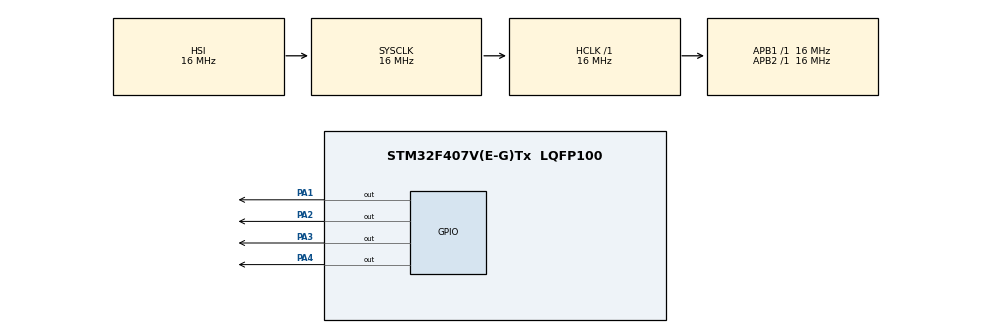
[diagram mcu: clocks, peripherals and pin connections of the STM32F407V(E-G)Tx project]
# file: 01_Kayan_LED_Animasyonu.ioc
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Mcu.Family=STM32F4
Mcu.Name=STM32F407V(E-G)Tx
Mcu.Package=LQFP100
NVIC.PriorityGroup=NVIC_PRIORITYGROUP_4
PA1.Signal=GPIO_Output
PA2.Signal=GPIO_Output
PA3.Signal=GPIO_Output
PA4.Signal=GPIO_Output
ProjectManager.HeapSize=0x200
ProjectManager.StackSize=0x400
ProjectManager.TargetToolchain=STM32CubeIDE
RCC.AHBFreq_Value=16000000
RCC.APB1Freq_Value=16000000
RCC.APB2Freq_Value=16000000
RCC.CortexFreq_Value=16000000
RCC.HSE_VALUE=25000000
RCC.HSI_VALUE=16000000
RCC.LSE_VALUE=32768
RCC.SYSCLKFreq_VALUE=16000000
RCC.VCOOutputFreq_Value=192000000
board=custom

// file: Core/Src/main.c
/* USER CODE BEGIN Header */
/**
  ******************************************************************************
  * @file           : main.c
  * @brief          : Main program body
  ******************************************************************************
  * @attention
  *
  * Copyright (c) 2025 STMicroelectronics.
  * All rights reserved.
  *
  * This software is licensed under terms that can be found in the LICENSE file
  * in the root directory of this software component.
  * If no LICENSE file comes with this software, it is provided AS-IS.
  *
  ******************************************************************************
  */
/* USER CODE END Header */
#include "main.h"

void SystemClock_Config(void);
static void MX_GPIO_Init(void);

int main(void)
{

  /* MCU Configuration--------------------------------------------------------*/

  /* Reset of all peripherals, Initializes the Flash interface and the Systick. */
  HAL_Init();

  /* Configure the system clock */
  SystemClock_Config();

  /* Initialize all configured peripherals */
  MX_GPIO_Init();

  /* Infinite loop */
  while (1)
  {

    /* USER CODE BEGIN 3 */

	  // Sağ yöne doğru LED animasyonu
	  HAL_GPIO_WritePin(GPIOA, GPIO_PIN_1, GPIO_PIN_SET);
	  HAL_Delay(200);
	  HAL_GPIO_WritePin(GPIOA, GPIO_PIN_1, GPIO_PIN_RESET);
	  HAL_Delay(100);

	  HAL_GPIO_WritePin(GPIOA, GPIO_PIN_2, GPIO_PIN_SET);
	  HAL_Delay(200);
	  HAL_GPIO_WritePin(GPIOA, GPIO_PIN_2, GPIO_PIN_RESET);
	  HAL_Delay(100);

	  HAL_GPIO_WritePin(GPIOA, GPIO_PIN_3, GPIO_PIN_SET);
	  HAL_Delay(200);
	  HAL_GPIO_WritePin(GPIOA, GPIO_PIN_3, GPIO_PIN_RESET);
	  HAL_Delay(100);

	  HAL_GPIO_WritePin(GPIOA, GPIO_PIN_4, GPIO_PIN_SET);
	  HAL_Delay(200);
	  HAL_GPIO_WritePin(GPIOA, GPIO_PIN_4, GPIO_PIN_RESET);
	  HAL_Delay(100);

	  // Sol yöne doğru geri animasyon
	  HAL_GPIO_WritePin(GPIOA, GPIO_PIN_3, GPIO_PIN_SET);
	  HAL_Delay(200);
	  HAL_GPIO_WritePin(GPIOA, GPIO_PIN_3, GPIO_PIN_RESET);
	  HAL_Delay(100);

	  HAL_GPIO_WritePin(GPIOA, GPIO_PIN_2, GPIO_PIN_SET);
	  HAL_Delay(200);
	  HAL_GPIO_WritePin(GPIOA, GPIO_PIN_2, GPIO_PIN_RESET);
	  HAL_Delay(100);

	  // Döngü tekrar PA1'e döner, o yüzden tekrar PA1 kodu yazmaya gerek yok.

  }
  /* USER CODE END 3 */
}

void SystemClock_Config(void)
{
  RCC_OscInitTypeDef RCC_OscInitStruct = {0};
  RCC_ClkInitTypeDef RCC_ClkInitStruct = {0};

  /** Configure the main internal regulator output voltage
  */
  __HAL_RCC_PWR_CLK_ENABLE();
  __HAL_PWR_VOLTAGESCALING_CONFIG(PWR_REGULATOR_VOLTAGE_SCALE1);

  /** Initializes the RCC Oscillators according to the specified parameters
  * in the RCC_OscInitTypeDef structure.
  */
  RCC_OscInitStruct.OscillatorType = RCC_OSCILLATORTYPE_HSI;
  RCC_OscInitStruct.HSIState = RCC_HSI_ON;
  RCC_OscInitStruct.HSICalibrationValue = RCC_HSICALIBRATION_DEFAULT;
  RCC_OscInitStruct.PLL.PLLState = RCC_PLL_NONE;
  if (HAL_RCC_OscConfig(&RCC_OscInitStruct) != HAL_OK)
  {
    Error_Handler();
  }

  /** Initializes the CPU, AHB and APB buses clocks
  */
  RCC_ClkInitStruct.ClockType = RCC_CLOCKTYPE_HCLK|RCC_CLOCKTYPE_SYSCLK
                              |RCC_CLOCKTYPE_PCLK1|RCC_CLOCKTYPE_PCLK2;
  RCC_ClkInitStruct.SYSCLKSource = RCC_SYSCLKSOURCE_HSI;
  RCC_ClkInitStruct.AHBCLKDivider = RCC_SYSCLK_DIV1;
  RCC_ClkInitStruct.APB1CLKDivider = RCC_HCLK_DIV1;
  RCC_ClkInitStruct.APB2CLKDivider = RCC_HCLK_DIV1;

  if (HAL_RCC_ClockConfig(&RCC_ClkInitStruct, FLASH_LATENCY_0) != HAL_OK)
  {
    Error_Handler();
  }
}

static void MX_GPIO_Init(void)
{
  GPIO_InitTypeDef GPIO_InitStruct = {0};

  /* GPIO Ports Clock Enable */
  __HAL_RCC_GPIOA_CLK_ENABLE();

  /*Configure GPIO pin Output Level */
  HAL_GPIO_WritePin(GPIOA, GPIO_PIN_1|GPIO_PIN_2|GPIO_PIN_3|GPIO_PIN_4, GPIO_PIN_RESET);

  /*Configure GPIO pins : PA1 PA2 PA3 PA4 */
  GPIO_InitStruct.Pin = GPIO_PIN_1|GPIO_PIN_2|GPIO_PIN_3|GPIO_PIN_4;
  GPIO_InitStruct.Mode = GPIO_MODE_OUTPUT_PP;
  GPIO_InitStruct.Pull = GPIO_NOPULL;
  GPIO_InitStruct.Speed = GPIO_SPEED_FREQ_LOW;
  HAL_GPIO_Init(GPIOA, &GPIO_InitStruct);

}

void Error_Handler(void)
{
  __disable_irq();
  while (1)
  {
  }
}
